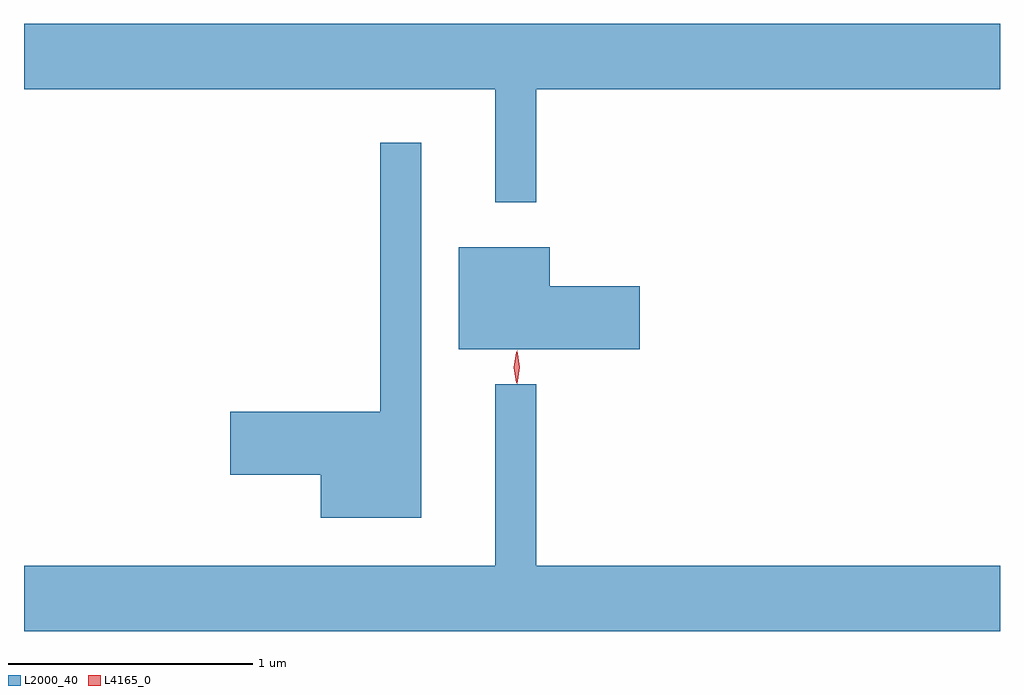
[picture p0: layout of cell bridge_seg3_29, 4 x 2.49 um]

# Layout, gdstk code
import gdstk
lib = gdstk.Library(unit=1e-6, precision=1e-09)
def P(c, l, *ps):  # polygons
    for p in ps: c.add(gdstk.Polygon(p, *l))
L2000_40 = (2000, 40)
L4165_0 = (4165, 0)

bridge_seg3_29 = lib.new_cell('bridge_seg3_29')
P(bridge_seg3_29, L2000_40, [(1307.309,1179.296),(1309.21,1179.296),(1309.21,1179.564),(1305.21,1179.564),(1305.21,1179.296),(1307.141,1179.296),(1307.141,1178.833),(1307.309,1178.833)],
  [(1306.839,1179.078),(1306.671,1179.078),(1306.671,1177.974),(1306.056,1177.974),(1306.056,1177.716),(1306.426,1177.716),(1306.426,1177.541),(1306.839,1177.541)],
  [(1307.734,1178.489),(1307.364,1178.489),(1307.364,1178.649),(1306.991,1178.649),(1306.991,1178.231),(1307.734,1178.231)],
  [(1309.21,1177.344),(1307.309,1177.344),(1307.309,1178.088),(1307.141,1178.088),(1307.141,1177.344),(1305.21,1177.344),(1305.21,1177.076),(1309.21,1177.076)])
P(bridge_seg3_29, L4165_0, [(1307.231,1178.09),(1307.222,1178.158),(1307.231,1178.225),(1307.232,1178.226),(1307.232,1178.225),(1307.242,1178.158),(1307.232,1178.09),(1307.232,1178.09)],
  [(1307.228,1178.093),(1307.228,1178.093),(1307.218,1178.156),(1307.228,1178.219),(1307.228,1178.22),(1307.229,1178.219),(1307.238,1178.156),(1307.229,1178.093)])

lib.write_gds('bridge_seg3_29.gds')
